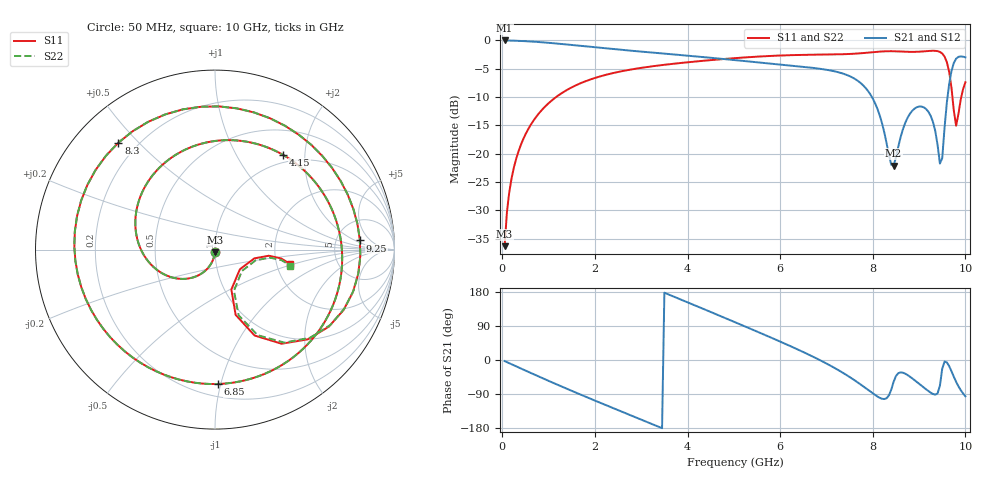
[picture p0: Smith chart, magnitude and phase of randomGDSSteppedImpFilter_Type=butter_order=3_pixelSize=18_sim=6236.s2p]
! freq	dB(S11)	phase(S11)	dB(S12)	phase(S12)
!  dB(S21)	phase(S21)	dB(S22)	phase(S22)
!S-par simulation data
#  GHz  S  DB  R 50
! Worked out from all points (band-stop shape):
!   200 points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, 50 MHz to 10 GHz, reference 50 ohm
!   highest |S21| = -0.01 dB at 50 MHz (marker M1); lowest = -22.1 dB at 8.45 GHz (marker M2)
!   |S21| within 3 dB of the highest: start of sweep to 4.429 GHz; 9.833 GHz to end of sweep
!   lowest |S11| = -36.3 dB at 50 MHz (marker M3), VSWR 1.03, Z = 49.9 - j1.53 ohm
!   |S11| at or under -10 dB: start of sweep to 1.161 GHz; 9.72 GHz to 9.911 GHz (190.6 MHz wide, 1.94 % of centre)
!   |S22| runs from -36.3 to -1.8 dB; largest |S21 - S12| = 0
!   S11 on the Smith chart (normalised r, x): 50 MHz: 1.00, -0.03; 4.15 GHz: 0.87, +1.59; 6.85 GHz: 0.29, -0.98; 8.3 GHz: 0.13, +0.44; 9.25 GHz: 8.69, +2.57; 10 GHz: 2.38, -0.47
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0.05  -36.30 -92.7  -0.01 -2.8  -0.01 -2.8  -36.30 -92.7
0.2  -24.34 -101.4  -0.03 -11.2  -0.03 -11.2  -24.34 -101.4
0.5  -16.59 -118.4  -0.14 -27.9  -0.14 -27.9  -16.59 -118.4
1.75  -7.35 174.9  -1.01 -94.3  -1.01 -94.3  -7.35 174.9
2.6  -5.40 131.9  -1.68 -137.3  -1.68 -137.3  -5.40 131.9
3.4  -4.40 91.9  -2.26 -177.4  -2.26 -177.4  -4.40 91.9
4.15  -3.74 54.2  -2.80 144.6  -2.80 144.6  -3.74 54.2
5.05  -3.11 8.6  -3.49 98.5  -3.49 98.5  -3.11 8.5
5.85  -2.72 -32.7  -4.14 56.7  -4.14 56.7  -2.72 -32.7
6.7  -2.53 -79.7  -4.84 9.3  -4.84 9.3  -2.53 -79.7
6.85  -2.51 -88.9  -4.99 0.2  -4.99 0.2  -2.51 -88.9
7.4  -2.43 -127.5  -5.97 -37.1  -5.97 -37.1  -2.43 -127.4
7.85  -2.19 -169.8  -8.44 -74.6  -8.44 -74.6  -2.19 -169.7
8.3  -1.91 132.1  -18.20 -100.7  -18.20 -100.7  -1.91 132.3
8.35  -1.90 124.8  -20.29 -93.1  -20.29 -93.1  -1.90 125.0
8.45  -1.91 110.1  -22.07 -57.7  -22.07 -57.7  -1.91 110.3
8.8  -2.02 60.4  -12.97 -43.7  -12.97 -43.7  -2.02 60.8
9.25  -1.84 3.6  -13.30 -86.2  -13.30 -86.2  -1.84 4.3
9.45  -2.03 -25.2  -21.73 -67.4  -21.73 -67.4  -2.02 -24.3
9.7  -8.38 -72.5  -5.39 -29.7  -5.39 -29.7  -8.19 -70.2
9.8  -15.05 -38.3  -3.22 -57.6  -3.22 -57.6  -14.35 -38.6
10  -7.39 -10.9  -2.99 -95.7  -2.99 -95.7  -7.33 -12.0
